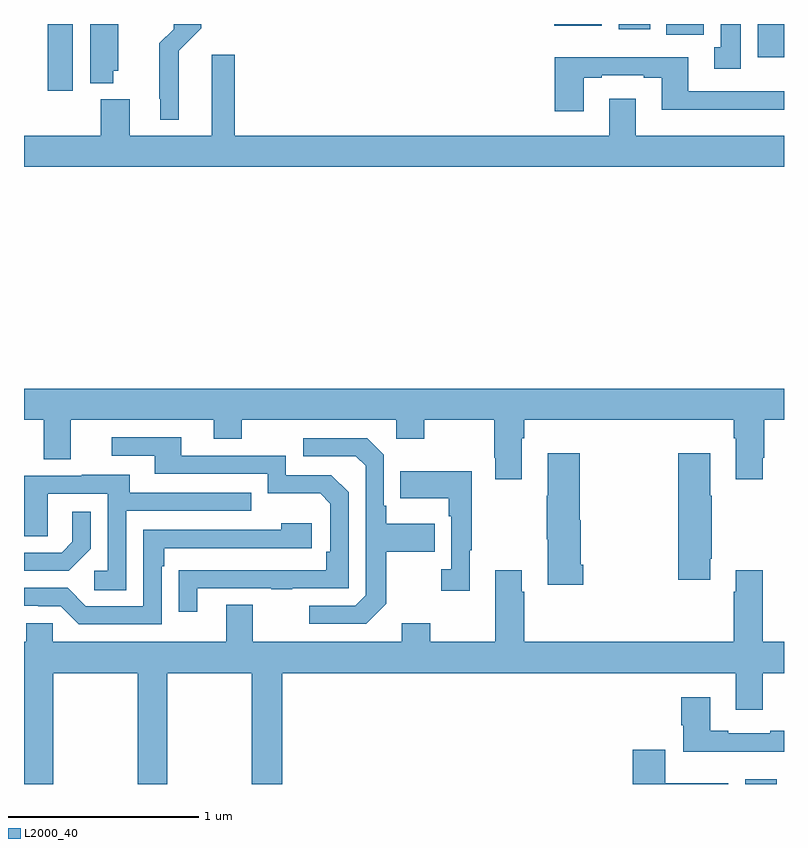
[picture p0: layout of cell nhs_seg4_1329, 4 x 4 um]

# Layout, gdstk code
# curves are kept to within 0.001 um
import gdstk
lib = gdstk.Library(unit=1e-6, precision=1e-09)
def R(c, l, rs):  # rectangles x0, y0, x1, y1
    for r in rs: c.add(gdstk.rectangle(r[:2], r[2:], *l))
def P(c, l, *ps):  # polygons
    for p in ps: c.add(gdstk.Polygon(p, *l))
L2000_40 = (2000, 40)

nhs_seg4_1329 = lib.new_cell('nhs_seg4_1329')
R(nhs_seg4_1329, L2000_40, [(182.795,798.9,182.962,798.925), (179.126,802.548,179.257,802.9), (182.861,802.724,183,802.9), (182.381,802.844,182.578,802.9), (182.129,802.872,182.296,802.9), (181.79,802.892,182.041,802.9)])
P(nhs_seg4_1329, L2000_40, [(179.47,802.653),(179.497,802.653),(179.497,802.9),(179.348,802.9),(179.348,802.589),(179.47,802.589)],
  [(182.773,802.9),(182.666,802.9),(182.666,802.778),(182.633,802.778),(182.633,802.665),(182.773,802.665)],
  [(179.815,802.76),(179.933,802.878),(179.933,802.9),(179.787,802.9),(179.787,802.872),(179.713,802.798),(179.713,802.507),(179.717,802.507),(179.717,802.397),(179.815,802.397)],
  [(183,802.312),(182.221,802.312),(182.221,802.507),(182.081,802.507),(182.081,802.312),(180.11,802.312),(180.11,802.738),(179.987,802.738),(179.987,802.312),(179.557,802.312),(179.557,802.504),(179.405,802.504),(179.405,802.312),(179,802.312),(179,802.148),(183,802.148)],
  [(181.945,802.617),(182.041,802.617),(182.041,802.629),(182.261,802.629),(182.261,802.617),(182.357,802.617),(182.357,802.448),(183,802.448),(183,802.545),(182.497,802.545),(182.497,802.726),(181.793,802.726),(181.793,802.44),(181.945,802.44)],
  [(179,800.816),(179.105,800.816),(179.105,800.608),(179.245,800.608),(179.245,800.816),(179.999,800.816),(179.999,800.717),(180.147,800.717),(180.147,800.816),(180.96,800.816),(180.96,800.717),(181.107,800.717),(181.107,800.816),(181.474,800.816),(181.474,800.617),(181.481,800.617),(181.481,800.505),(181.621,800.505),(181.621,800.72),(181.634,800.72),(181.634,800.816),(182.735,800.816),(182.735,800.72),(182.747,800.72),(182.747,800.505),(182.887,800.505),(182.887,800.617),(182.895,800.617),(182.895,800.816),(183,800.816),(183,800.98),(179,800.98)],
  [(179.911,799.929),(180.301,799.929),(180.301,799.924),(180.413,799.924),(180.413,799.929),(180.708,799.929),(180.708,800.436),(180.618,800.526),(180.378,800.526),(180.378,800.628),(179.827,800.628),(179.827,800.724),(179.463,800.724),(179.463,800.628),(179.687,800.628),(179.687,800.532),(180.282,800.532),(180.282,800.429),(180.559,800.429),(180.612,800.376),(180.612,800.122),(180.592,800.122),(180.592,800.025),(179.815,800.024),(179.815,799.806),(179.911,799.806)],
  [(180.907,799.849),(180.907,800.122),(181.163,800.122),(181.163,800.269),(180.907,800.269),(180.907,800.365),(180.894,800.365),(180.894,800.634),(180.807,800.721),(180.471,800.721),(180.471,800.625),(180.747,800.625),(180.798,800.574),(180.798,799.893),(180.744,799.839),(180.501,799.839),(180.501,799.743),(180.801,799.743)],
  [(181.943,800.053),(181.93,800.053),(181.93,800.289),(181.925,800.289),(181.925,800.641),(181.757,800.641),(181.757,800.417),(181.75,800.417),(181.75,800.189),(181.757,800.189),(181.757,799.949),(181.943,799.949)],
  [(182.611,800.086),(182.619,800.086),(182.619,800.417),(182.611,800.417),(182.611,800.641),(182.444,800.641),(182.444,799.974),(182.611,799.974)],
  [(181.345,800.129),(181.357,800.129),(181.357,800.545),(180.979,800.545),(180.979,800.405),(181.236,800.405),(181.236,800.309),(181.248,800.309),(181.248,800.03),(181.197,800.03),(181.197,799.917),(181.345,799.917)],
  [(179.538,800.337),(180.197,800.337),(180.197,800.433),(179.557,800.433),(179.557,800.527),(179.303,800.527),(179.303,800.523),(179,800.523),(179,800.203),(179.124,800.203),(179.124,800.427),(179.442,800.427),(179.442,800.022),(179.37,800.022),(179.37,799.921),(179.538,799.921)],
  [(179.352,800.138),(179.352,800.332),(179.255,800.332),(179.255,800.175),(179.198,800.118),(179,800.118),(179,800.022),(179.236,800.022)],
  [(179.724,800.045),(179.737,800.045),(179.737,800.142),(180.514,800.142),(180.514,800.272),(180.353,800.272),(180.353,800.238),(179.628,800.238),(179.628,799.836),(179.325,799.836),(179.229,799.932),(179,799.932),(179,799.839),(179.075,799.839),(179.075,799.836),(179.193,799.836),(179.289,799.74),(179.724,799.74)],
  [(179.154,799.484),(179.599,799.484),(179.599,798.9),(179.754,798.9),(179.754,799.484),(180.199,799.484),(180.199,798.9),(180.359,798.9),(180.359,799.484),(182.747,799.484),(182.747,799.29),(182.887,799.29),(182.887,799.484),(183,799.484),(183,799.648),(182.887,799.648),(182.887,800.026),(182.747,800.026),(182.747,799.913),(182.735,799.913),(182.735,799.648),(181.634,799.648),(181.634,799.913),(181.621,799.913),(181.621,800.026),(181.481,800.026),(181.481,799.648),(181.137,799.648),(181.137,799.747),(180.989,799.747),(180.989,799.648),(180.205,799.648),(180.205,799.843),(180.065,799.843),(180.065,799.648),(179.151,799.648),(179.151,799.746),(179.013,799.746),(179.013,799.648),(179,799.648),(179,798.9),(179.154,798.9)],
  [(183,799.18),(182.927,799.18),(182.927,799.167),(182.707,799.167),(182.707,799.18),(182.611,799.18),(182.611,799.357),(182.459,799.357),(182.459,799.209),(182.471,799.209),(182.471,799.07),(183,799.07)],
  [(182.707,798.904),(182.374,798.904),(182.374,799.081),(182.204,799.081),(182.204,798.9),(182.707,798.9)])

lib.write_gds('nhs_seg4_1329.gds')
